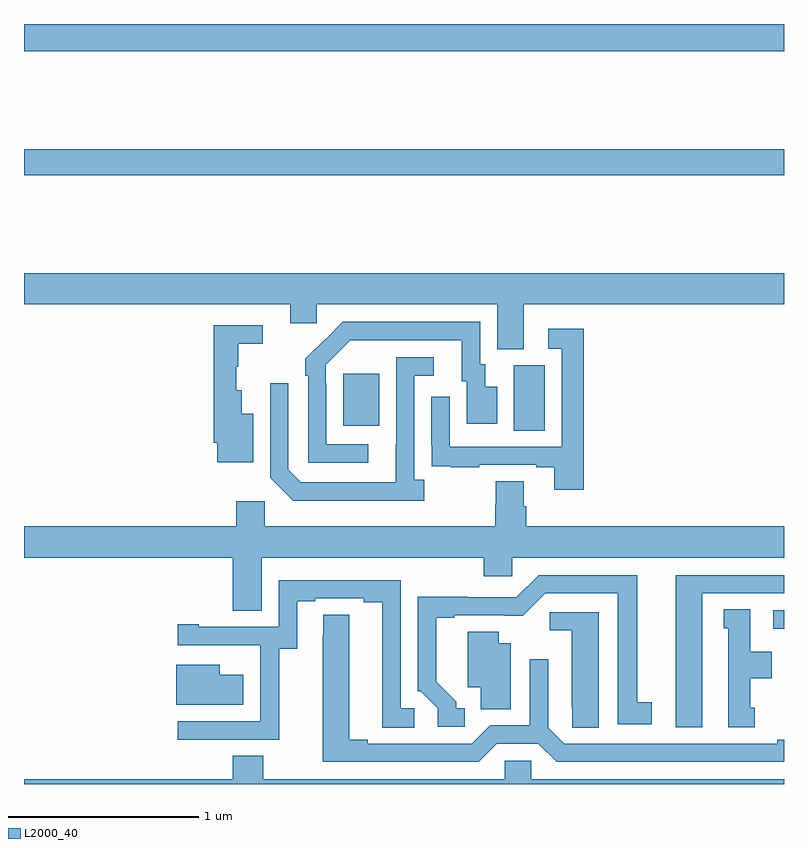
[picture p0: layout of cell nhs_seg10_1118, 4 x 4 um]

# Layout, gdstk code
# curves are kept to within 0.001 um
import gdstk
lib = gdstk.Library(unit=1e-6, precision=1e-09)
def R(c, l, rs):  # rectangles x0, y0, x1, y1
    for r in rs: c.add(gdstk.rectangle(r[:2], r[2:], *l))
def P(c, l, *ps):  # polygons
    for p in ps: c.add(gdstk.Polygon(p, *l))
L2000_40 = (2000, 40)

nhs_seg10_1118 = lib.new_cell('nhs_seg10_1118')
R(nhs_seg10_1118, L2000_40, [(172.944,1257.318,173,1257.414), (171.578,1258.36,171.742,1258.704), (170.681,1258.385,170.869,1258.66), (169,1259.704,173,1259.84), (169,1260.356,173,1260.5)])
P(nhs_seg10_1118, L2000_40, [(171.631,1259.024),(173,1259.024),(173,1259.188),(169,1259.188),(169,1259.024),(170.402,1259.024),(170.402,1258.926),(170.541,1258.926),(170.541,1259.024),(171.491,1259.024),(171.491,1258.789),(171.631,1258.789)],
  [(170.812,1258.287),(170.592,1258.287),(170.592,1258.607),(170.589,1258.607),(170.589,1258.707),(170.718,1258.836),(171.305,1258.836),(171.305,1258.62),(171.329,1258.62),(171.329,1258.395),(171.49,1258.395),(171.49,1258.591),(171.427,1258.591),(171.427,1258.71),(171.402,1258.71),(171.402,1258.932),(170.678,1258.932),(170.481,1258.737),(170.481,1258.649),(170.496,1258.649),(170.496,1258.191),(170.812,1258.191)],
  [(170.206,1258.45),(170.146,1258.45),(170.146,1258.573),(170.117,1258.573),(170.117,1258.695),(170.128,1258.695),(170.128,1258.816),(170.257,1258.816),(170.257,1258.914),(169.999,1258.914),(169.999,1258.297),(170.018,1258.297),(170.018,1258.193),(170.206,1258.193)],
  [(171.947,1258.897),(171.759,1258.897),(171.759,1258.791),(171.831,1258.791),(171.831,1258.275),(171.24,1258.275),(171.24,1258.537),(171.144,1258.537),(171.144,1258.282),(171.145,1258.282),(171.145,1258.173),(171.247,1258.173),(171.247,1258.167),(171.395,1258.167),(171.395,1258.179),(171.695,1258.179),(171.695,1258.167),(171.791,1258.167),(171.791,1258.05),(171.947,1258.05)],
  [(171.106,1258.102),(171.054,1258.102),(171.054,1258.65),(171.157,1258.65),(171.157,1258.746),(170.958,1258.746),(170.957,1258.089),(170.457,1258.089),(170.391,1258.155),(170.391,1258.609),(170.295,1258.609),(170.295,1258.113),(170.416,1257.992),(171.106,1257.992)],
  [(170.251,1257.692),(171.419,1257.692),(171.419,1257.594),(171.57,1257.594),(171.57,1257.692),(173,1257.692),(173,1257.856),(171.644,1257.856),(171.644,1257.962),(171.631,1257.962),(171.631,1258.094),(171.484,1258.094),(171.484,1257.969),(171.479,1257.969),(171.479,1257.856),(170.268,1257.856),(170.268,1257.988),(170.117,1257.988),(170.117,1257.856),(169,1257.856),(169,1257.692),(170.099,1257.692),(170.099,1257.412),(170.251,1257.412)],
  [(172.57,1257.504),(173,1257.504),(173,1257.6),(172.43,1257.6),(172.43,1256.799),(172.57,1256.799)],
  [(171.319,1256.898),(171.274,1256.898),(171.274,1256.933),(171.169,1257.038),(171.169,1257.375),(171.265,1257.375),(171.265,1257.387),(171.626,1257.386),(171.744,1257.504),(172.124,1257.504),(172.124,1256.814),(172.303,1256.814),(172.303,1256.93),(172.228,1256.93),(172.228,1257.6),(171.708,1257.6),(171.591,1257.483),(171.335,1257.483),(171.335,1257.485),(171.072,1257.485),(171.072,1256.988),(171.087,1256.988),(171.177,1256.898),(171.177,1256.802),(171.319,1256.802)],
  [(170.343,1257.211),(170.437,1257.211),(170.437,1257.462),(170.533,1257.462),(170.533,1257.477),(170.789,1257.477),(170.789,1257.457),(170.885,1257.457),(170.885,1256.797),(171.055,1256.797),(171.055,1256.898),(170.982,1256.898),(170.982,1257.573),(170.34,1257.573),(170.34,1257.327),(169.921,1257.327),(169.921,1257.34),(169.809,1257.34),(169.809,1257.231),(170.243,1257.231),(170.243,1257.23),(170.244,1257.23),(170.244,1256.829),(169.809,1256.829),(169.809,1256.733),(170.343,1256.733)],
  [(172.846,1256.901),(172.822,1256.901),(172.822,1257.056),(172.936,1257.056),(172.936,1257.196),(172.822,1257.196),(172.822,1257.419),(172.682,1257.419),(172.682,1257.321),(172.706,1257.321),(172.706,1256.799),(172.846,1256.799)],
  [(172.024,1257.405),(171.768,1257.405),(171.768,1257.308),(171.884,1257.308),(171.884,1256.905),(171.885,1256.905),(171.885,1256.797),(172.024,1256.797)],
  [(171.489,1256.712),(171.707,1256.712),(171.803,1256.616),(173,1256.616),(173,1256.732),(172.964,1256.732),(172.964,1256.712),(171.843,1256.712),(171.759,1256.796),(171.759,1257.157),(171.663,1257.157),(171.663,1256.808),(171.453,1256.808),(171.357,1256.712),(170.809,1256.712),(170.809,1256.732),(170.713,1256.732),(170.713,1257.392),(170.574,1257.392),(170.573,1256.616),(171.393,1256.616)],
  [(171.562,1257.241),(171.499,1257.241),(171.499,1257.302),(171.335,1257.302),(171.335,1257.008),(171.404,1257.008),(171.404,1256.893),(171.562,1256.893)],
  [(170.155,1257.076),(170.029,1257.076),(170.029,1257.127),(169.802,1257.127),(169.802,1256.918),(170.155,1256.918)],
  [(173,1256.524),(171.669,1256.524),(171.669,1256.622),(171.531,1256.622),(171.531,1256.524),(170.259,1256.524),(170.259,1256.648),(170.099,1256.648),(170.099,1256.524),(169,1256.524),(169,1256.5),(173,1256.5)])

lib.write_gds('nhs_seg10_1118.gds')
